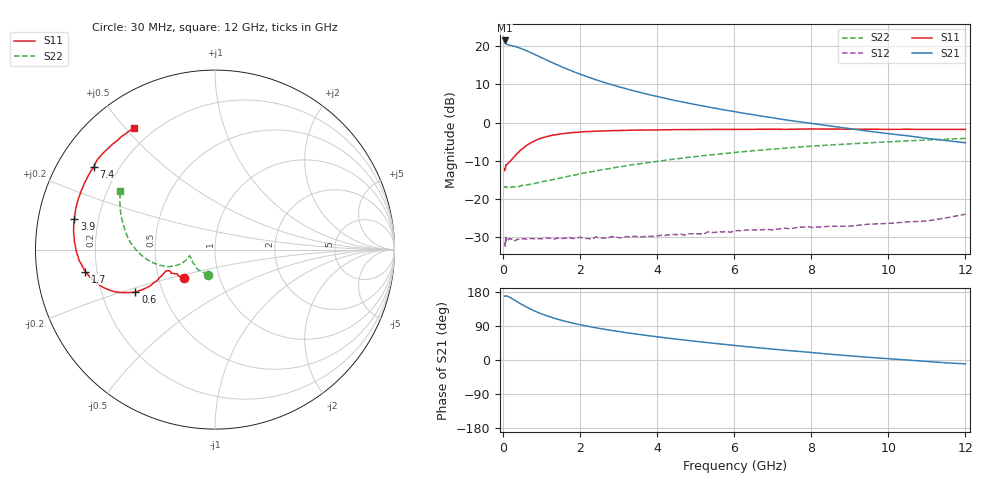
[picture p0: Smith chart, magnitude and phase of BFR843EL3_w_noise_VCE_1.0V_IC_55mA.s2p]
! Infineon Technologies  Discrete & RF Semiconductors
! BFR843EL3
! VCE =  1.0 V,  IC =  55 mA
! Common Emitter S-Parameters:  Aug 2013
# GHz  S  MA  R  50
!  f  S11  S21  S12  S22
! GHz  MAG  ANG  MAG  ANG  MAG  ANG  MAG  ANG
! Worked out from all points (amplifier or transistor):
!   103 points, 30 MHz to 12 GHz, reference 50 ohm
!   highest |S21| = 21.5 dB at 30 MHz (marker M1)
!   |S21| within 3 dB of that: start of sweep to 671.4 MHz
!   unconditionally stable (mu >= 1): start of sweep to end of sweep
!   at 400 MHz: K = 1.59, MAG = 20.5 dB, |S12| = -30.5 dB
!   at 3.7 GHz: K = 2.10, MAG = 12.7 dB, |S12| = -29.8 dB
!   at 12 GHz: K = 3.23, MAG = 1.4 dB, |S12| = -24.0 dB
!   lowest NFmin = 1.94 dB at 450 MHz
!   S11 on the Smith chart (normalised r, x): 30 MHz: 0.67, -0.23; 600 MHz: 0.35, -0.22; 1.7 GHz: 0.16, -0.08; 3.9 GHz: 0.11, +0.11; 7.4 GHz: 0.11, +0.31; 12 GHz: 0.13, +0.53
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0.03  0.2359 -137.4  11.87 168.5  0.0251 21.7  0.1466 -106.4
0.04  0.2516 -144.7  11.39 168.5  0.0266 21.2  0.1421 -121.1
0.07  0.276 -153.9  10.7 169.0  0.0287 12.9  0.1413 -143.6
0.1  0.2878 -156.1  10.5 168.5  0.0291 8.9  0.1421 -152.4
0.15  0.3037 -156.0  10.33 166.3  0.0306 4.9  0.1431 -160.0
0.3  0.3668 -151.8  9.904 157.1  0.0285 6.5  0.1447 -165.5
0.4  0.4136 -150.7  9.538 151.1  0.0298 4.9  0.1455 -165.2
0.6  0.5031 -151.9  8.719 139.7  0.0299 3.8  0.1532 -163.7
0.8  0.5744 -155.4  7.842 129.8  0.0302 5.9  0.1595 -162.4
1.1  0.6515 -160.8  6.661 117.6  0.031 7.1  0.1722 -160.2
1.4  0.7007 -166.0  5.692 107.9  0.0309 6.4  0.1848 -158.6
1.7  0.732 -170.4  4.911 99.8  0.0314 10.6  0.1998 -157.5
2.1  0.7609 -175.7  4.108 90.7  0.0306 11.9  0.2193 -157.5
2.8  0.7841 177.0  3.147 78.2  0.0322 15.7  0.2528 -158.5
3.9  0.8017 167.6  2.251 62.4  0.0326 19.4  0.3064 -163.0
4.1  0.804 166.3  2.135 59.9  0.0336 19.8  0.3157 -163.8
5.1  0.8124 159.4  1.678 48.1  0.0351 24.3  0.3648 -169.5
6.1  0.8163 153.0  1.364 37.5  0.0388 26.5  0.4113 -175.6
7.4  0.8171 145.6  1.073 24.9  0.0411 29.3  0.4672 175.9
8.5  0.823 139.2  0.902 15.1  0.0441 31.1  0.5099 168.4
10.5  0.8177 129.6  0.672 -0.1  0.0503 36.4  0.5768 156.3
12  0.8159 123.6  0.545 -10.2  0.0633 39.8  0.6212 148.2
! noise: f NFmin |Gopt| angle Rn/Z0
0.45  1.94  0.32  -179  0.13
0.9  1.97  0.36  188  0.12
1.5  2.03  0.38  190  0.12
1.9  2.08  0.38  190  0.11
2.4  2.15  0.42  196  0.1
3.5  2.32  0.45  200  0.12
5.5  2.64  0.52  210  0.16
8  3.02  0.62  222  0.28
10  3.31  0.63  237  0.63
